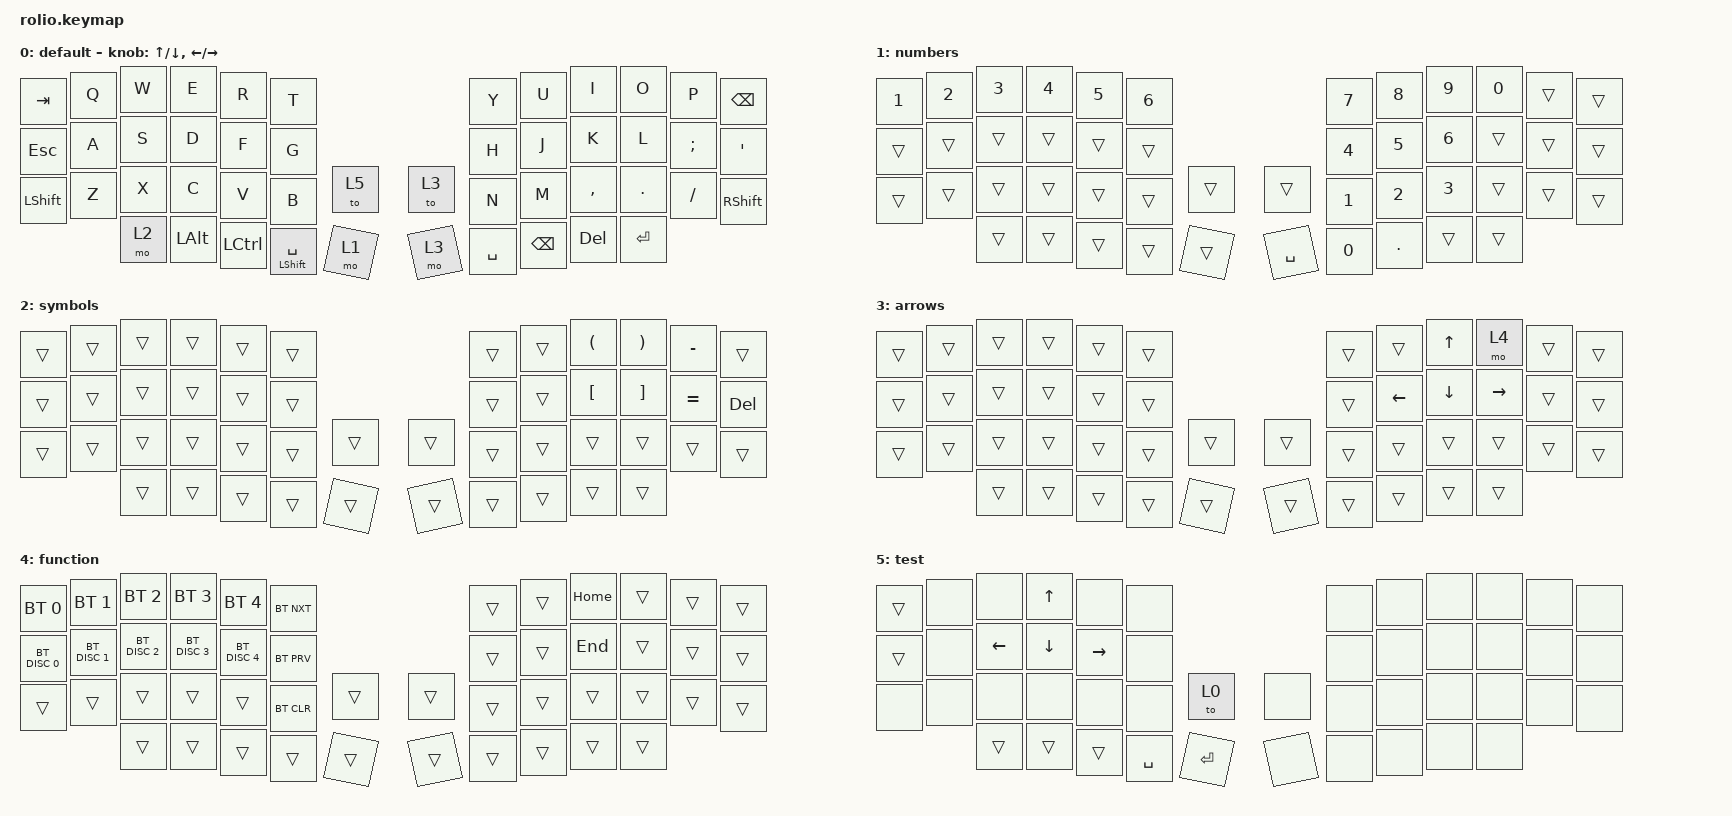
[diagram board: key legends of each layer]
/*
 * Copyright (c) 2020 The ZMK Contributors
 *
 * SPDX-License-Identifier: MIT
 */

#include <behaviors.dtsi>
#include <dt-bindings/zmk/bt.h>
#include <dt-bindings/zmk/keys.h>

#define MACOS     0
#define FKEYS     1
#define NUMBERS   2
#define WINDOWS   3
#define W_FKEYS   4
#define W_NUMBERS 5
#define MATHS     6
#define KB_CONFIG 7

/ {
    conditional_layers { compatible = "zmk,conditional-layers"; };

    behaviors {
        // Toggle F-Keys Layer

        td0: tap_dance_0 {
            compatible = "zmk,behavior-tap-dance";
            label = "TAP_DANCE_0";
            #binding-cells = <0>;
            tapping-term-ms = <300>;
            bindings = <&mo 0>, <&tog 0>, <&tog 0>;
        };

        // Toggle Numbers layer

        td1: tap_dance_1 {
            compatible = "zmk,behavior-tap-dance";
            label = "TAP_DANCE_1";
            #binding-cells = <0>;
            tapping-term-ms = <300>;
            bindings = <&mo 0>, <&tog 0>, <&tog 0>;
        };

        // Toggle capsword left

        td2: tap_dance_2 {
            compatible = "zmk,behavior-tap-dance";
            label = "TAP_DANCE_2";
            #binding-cells = <0>;
            tapping-term-ms = <200>;
            bindings = <&kp LSHFT>, <&caps_word>;
        };

        // Toggle capsword right

        td3: tap_dance_3 {
            compatible = "zmk,behavior-tap-dance";
            label = "TAP_DANCE_3";
            #binding-cells = <0>;
            tapping-term-ms = <200>;
            bindings = <&kp RSHFT>, <&caps_word>;
        };

        // Toggle Windows layer

        td4: tap_dance_4 {
            compatible = "zmk,behavior-tap-dance";
            label = "TAP_DANCE_4";
            #binding-cells = <0>;
            tapping-term-ms = <200>;
            bindings = <&kp LGUI>, <&tog 0>;
        };

        // Toggle Windows layer

        td5: tap_dance_5 {
            compatible = "zmk,behavior-tap-dance";
            label = "TAP_DANCE_5";
            #binding-cells = <0>;
            tapping-term-ms = <200>;
            bindings = <&kp RGUI>, <&tog 0>;
        };

        // Backspace a whole word when holding backspace

        backspace_word: backspace_word {
            compatible = "zmk,behavior-hold-tap";
            label = "BACKSPACE_WORD";
            #binding-cells = <2>;
            tapping_term_ms = <135>;
            quick_tap_ms = <0>;
            flavor = "tap-preferred";
            bindings = <&bsp_word>, <&kp>;
        };

        w_backspace_word: w_backspace_word {
            compatible = "zmk,behavior-hold-tap";
            label = "WINDOWS_BACKSPACE_WORD";
            #binding-cells = <2>;
            tapping_term_ms = <135>;
            quick_tap_ms = <0>;
            flavor = "tap-preferred";
            bindings = <&w_bsp_word>, <&kp>;
        };

        //Mac OS Zoom
        //Windows OS Zoom
    };

    macros {
        unindent: unindent {
            label = "UNINDENT";
            compatible = "zmk,behavior-macro";
            #binding-cells = <0>;
            bindings =
                <&macro_press>,
                <&kp LSHIFT>,
                <&macro_tap>,
                <&kp TAB>,
                <&macro_release>,
                <&kp LSHIFT>;
        };

        lstart: lstart {
            label = "Line_Start";
            compatible = "zmk,behavior-macro";
            #binding-cells = <0>;
            bindings =
                <&macro_press>,
                <&kp LGUI>,
                <&macro_tap>,
                <&kp LEFT>,
                <&macro_release>,
                <&kp LGUI>;
        };

        lend: lend {
            label = "Line_End";
            compatible = "zmk,behavior-macro";
            #binding-cells = <0>;
            bindings =
                <&macro_press>,
                <&kp LGUI>,
                <&macro_tap>,
                <&kp RIGHT>,
                <&macro_release>,
                <&kp LGUI>;
        };

        scrsh: scrsh {
            label = "Screenshot";
            compatible = "zmk,behavior-macro";
            #binding-cells = <0>;
            bindings =
                <&macro_press>,
                <&kp LGUI>,
                <&macro_press>,
                <&kp LSHIFT>,
                <&macro_tap>,
                <&kp N3>,
                <&macro_release>,
                <&kp LSHFT>,
                <&macro_release>,
                <&kp LGUI>;
        };

        scrcr: scrcr {
            label = "Screen_Crop";
            compatible = "zmk,behavior-macro";
            #binding-cells = <0>;
            bindings =
                <&macro_press>,
                <&kp LGUI>,
                <&macro_press>,
                <&kp LSHIFT>,
                <&macro_tap>,
                <&kp N4>,
                <&macro_release>,
                <&kp LSHFT>,
                <&macro_release>,
                <&kp LGUI>;
        };

        wscrcr: wscrcr {
            label = "Windows_Screen_Crop";
            compatible = "zmk,behavior-macro";
            #binding-cells = <0>;
            bindings =
                <&macro_press>,
                <&kp LGUI>,
                <&macro_press>,
                <&kp LSHIFT>,
                <&macro_tap>,
                <&kp S>,
                <&macro_release>,
                <&kp LSHFT>,
                <&macro_release>,
                <&kp LGUI>;
        };

        pal: pal {
            label = "Pallette";
            compatible = "zmk,behavior-macro";
            #binding-cells = <0>;
            bindings =
                <&macro_press>,
                <&kp LGUI>,
                <&macro_press>,
                <&kp LCTRL>,
                <&macro_tap>,
                <&kp SPACE>,
                <&macro_release>,
                <&kp LCTRL>,
                <&macro_release>,
                <&kp LGUI>;
        };

        wpal: wpal {
            label = "W_Pallette";
            compatible = "zmk,behavior-macro";
            #binding-cells = <0>;
            bindings =
                <&macro_press>,
                <&kp LGUI>,
                <&macro_tap>,
                <&kp DOT>,
                <&macro_release>,
                <&kp LGUI>;
        };

        // Word backspace macros

        bsp_word: bsp_word {
            label = "BSP_WORD";
            compatible = "zmk,behavior-macro";
            #binding-cells = <0>;
            bindings =
                <&macro_press>,
                <&kp LALT>,
                <&macro_tap>,
                <&kp BSPC>,
                <&macro_release>,
                <&kp LALT>;
        };

        w_bsp_word: w_bsp_word {
            label = "W_BSP_WORD";
            compatible = "zmk,behavior-macro";
            #binding-cells = <0>;
            bindings =
                <&macro_press>,
                <&kp LCTRL>,
                <&macro_tap>,
                <&kp BSPC>,
                <&macro_release>,
                <&kp LCTRL>;
        };

        // Zoom macros

        zoom_in: zoom_in {
            label = "ZOOM_IN";
            compatible = "zmk,behavior-macro";
            #binding-cells = <0>;
            bindings =
                <&macro_press>,
                <&kp LGUI>,
                <&macro_tap>,
                <&kp EQUAL>,
                <&macro_release>,
                <&kp LGUI>;
        };

        zoom_out: zoom_out {
            label = "ZOOM_OUT";
            compatible = "zmk,behavior-macro";
            #binding-cells = <0>;
            bindings =
                <&macro_press>,
                <&kp LGUI>,
                <&macro_tap>,
                <&kp MINUS>,
                <&macro_release>,
                <&kp LGUI>;
        };

        reset_zoom: reset_zoom {
            label = "RESET_ZOOM";
            compatible = "zmk,behavior-macro";
            #binding-cells = <0>;
            bindings =
                <&macro_press>,
                <&kp LGUI>,
                <&macro_tap>,
                <&kp N0>,
                <&macro_release>,
                <&kp LGUI>;
        };

        w_zoom_in: w_zoom_in {
            label = "WINDOWS_ZOOM_IN";
            compatible = "zmk,behavior-macro";
            #binding-cells = <0>;
            bindings =
                <&macro_press>,
                <&kp LCTRL>,
                <&macro_tap>,
                <&kp EQUAL>,
                <&macro_release>,
                <&kp LCTRL>;
        };

        w_zoom_out: w_zoom_out {
            label = "WINDOWS_ZOOM_OUT";
            compatible = "zmk,behavior-macro";
            #binding-cells = <0>;
            bindings =
                <&macro_press>,
                <&kp LCTRL>,
                <&macro_tap>,
                <&kp MINUS>,
                <&macro_release>,
                <&kp LCTRL>;
        };

        w_reset_zoom: w_reset_zoom {
            label = "WINDOWS_RESET_ZOOM";
            compatible = "zmk,behavior-macro";
            #binding-cells = <0>;
            bindings =
                <&macro_press>,
                <&kp LCTRL>,
                <&macro_tap>,
                <&kp N0>,
                <&macro_release>,
                <&kp LCTRL>;
        };
    };

    keymap {
        compatible = "zmk,keymap";

        default_layer {
            label = "default";
            sensor-bindings = <&inc_dec_kp UP DOWN &inc_dec_kp LEFT RIGHT>;
            bindings = <
&kp TAB    &kp Q  &kp W  &kp E     &kp R      &kp T                               &kp Y      &kp U     &kp I      &kp O      &kp P     &kp BACKSPACE
&kp ESC    &kp A  &kp S  &kp D     &kp F      &kp G                               &kp H      &kp J     &kp K      &kp L      &kp SEMI  &kp SQT
&kp LSHFT  &kp Z  &kp X  &kp C     &kp V      &kp B                 &to 5  &to 3  &kp N      &kp M     &kp COMMA  &kp DOT    &kp FSLH  &kp RSHFT
                  &mo 2  &kp LALT  &kp LCTRL  &mt LEFT_SHIFT SPACE  &mo 1  &mo 3  &kp SPACE  &kp BSPC  &kp DEL    &kp ENTER
            >;
        };

        Numbers {
            bindings = <
&kp N1  &kp N2  &kp N3  &kp N4  &kp N5  &kp N6                     &kp N7  &kp N8   &kp N9  &kp N0  &trans  &trans
&trans  &trans  &trans  &trans  &trans  &trans                     &kp N4  &kp N5   &kp N6  &trans  &trans  &trans
&trans  &trans  &trans  &trans  &trans  &trans  &trans  &trans     &kp N1  &kp N2   &kp N3  &trans  &trans  &trans
                &trans  &trans  &trans  &trans  &trans  &kp SPACE  &kp N0  &kp DOT  &trans  &trans
            >;

            label = "numbers";
        };

        Symbols {
            bindings = <
&trans  &trans  &trans  &trans  &trans  &trans                  &trans  &trans  &kp LEFT_PARENTHESIS  &kp RIGHT_PARENTHESIS  &kp MINUS  &trans
&trans  &trans  &trans  &trans  &trans  &trans                  &trans  &trans  &kp LEFT_BRACKET      &kp RBKT               &kp EQUAL  &kp DELETE
&trans  &trans  &trans  &trans  &trans  &trans  &trans  &trans  &trans  &trans  &trans                &trans                 &trans     &trans
                &trans  &trans  &trans  &trans  &trans  &trans  &trans  &trans  &trans                &trans
            >;

            label = "symbols";
        };

        Arrows {
            bindings = <
&trans  &trans  &trans  &trans  &trans  &trans                  &trans  &trans    &kp UP    &mo 4      &trans  &trans
&trans  &trans  &trans  &trans  &trans  &trans                  &trans  &kp LEFT  &kp DOWN  &kp RIGHT  &trans  &trans
&trans  &trans  &trans  &trans  &trans  &trans  &trans  &trans  &trans  &trans    &trans    &trans     &trans  &trans
                &trans  &trans  &trans  &trans  &trans  &trans  &trans  &trans    &trans    &trans
            >;

            label = "arrows";
        };

        Function {
            bindings = <
&bt BT_SEL 0   &bt BT_SEL 1   &bt BT_SEL 2   &bt BT_SEL 3   &bt BT_SEL 4   &bt BT_NXT                  &trans  &trans  &kp HOME  &trans  &trans  &trans
&bt BT_DISC 0  &bt BT_DISC 1  &bt BT_DISC 2  &bt BT_DISC 3  &bt BT_DISC 4  &bt BT_PRV                  &trans  &trans  &kp END   &trans  &trans  &trans
&trans         &trans         &trans         &trans         &trans         &bt BT_CLR  &trans  &trans  &trans  &trans  &trans    &trans  &trans  &trans
                              &trans         &trans         &trans         &trans      &trans  &trans  &trans  &trans  &trans    &trans
            >;

            label = "function";
        };

        test {
            bindings = <
&trans  &none  &none     &kp UP    &none      &none                      &none  &none  &none  &none  &none  &none
&trans  &none  &kp LEFT  &kp DOWN  &kp RIGHT  &none                      &none  &none  &none  &none  &none  &none
&none   &none  &none     &none     &none      &none      &to 0    &none  &none  &none  &none  &none  &none  &none
               &trans    &trans    &trans     &kp SPACE  &kp RET  &none  &none  &none  &none  &none
            >;

            label = "test";
        };
    };
};
